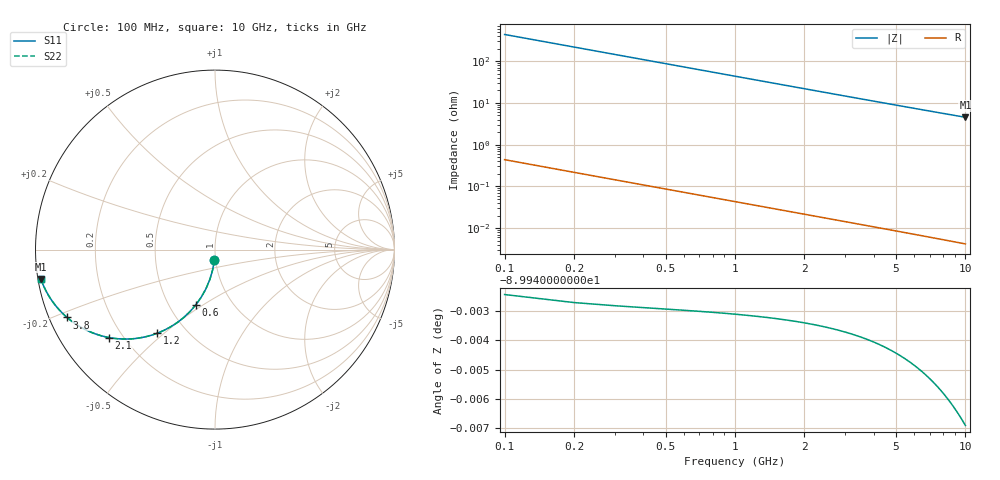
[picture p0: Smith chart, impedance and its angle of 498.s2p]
# Hz S RI R 50.00
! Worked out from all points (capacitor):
!   100 points, 100 MHz to 10 GHz, reference 50 ohm
!   read as one part in shunt: C = 3.66 pF near 100 MHz
!   lowest |Z| = 4.53 ohm at 10 GHz (marker M1)
!   S11 on the Smith chart (normalised r, x): 100 MHz: 0.99, -0.11; 600 MHz: 0.68, -0.47; 1.2 GHz: 0.35, -0.47; 2.1 GHz: 0.15, -0.35; 3.8 GHz: 0.05, -0.22; 10 GHz: 0.01, -0.08
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1e8  -0.00334 -0.0572  0.9966 -0.0573  0.9966 -0.0573  -0.00334 -0.0572
2e8  -0.0131 -0.1133  0.9868 -0.1135  0.9868 -0.1135  -0.0131 -0.1133
3e8  -0.029 -0.1671  0.971 -0.1675  0.971 -0.1675  -0.029 -0.1671
4e8  -0.0503 -0.2179  0.9497 -0.2184  0.9497 -0.2184  -0.0503 -0.2179
5e8  -0.0764 -0.2648  0.9236 -0.2654  0.9236 -0.2654  -0.0764 -0.2648
6e8  -0.1063 -0.3074  0.8937 -0.3081  0.8937 -0.3081  -0.1063 -0.3074
7e8  -0.1393 -0.3453  0.8607 -0.3461  0.8607 -0.3461  -0.1393 -0.3453
9e8  -0.2108 -0.4069  0.7892 -0.4079  0.7892 -0.4079  -0.2108 -0.4069
1.2e9  -0.3215 -0.4659  0.6785 -0.4672  0.6785 -0.4672  -0.3215 -0.4659
1.5e9  -0.425 -0.493  0.575 -0.4947  0.575 -0.4947  -0.425 -0.493
1.8e9  -0.5151 -0.4982  0.4848 -0.5003  0.4848 -0.5003  -0.5151 -0.4982
2.1e9  -0.5908 -0.49  0.4092 -0.4924  0.4092 -0.4924  -0.5908 -0.49
2.4e9  -0.6531 -0.4741  0.3469 -0.4769  0.3469 -0.4769  -0.6531 -0.4741
2.7e9  -0.704 -0.4544  0.2959 -0.4575  0.2959 -0.4575  -0.704 -0.4544
3e9  -0.7457 -0.4332  0.2542 -0.4367  0.2542 -0.4367  -0.7457 -0.4332
3.4e9  -0.7899 -0.4049  0.21 -0.4088  0.21 -0.4088  -0.7899 -0.4049
3.8e9  -0.8242 -0.3779  0.1757 -0.3823  0.1757 -0.3823  -0.8242 -0.3779
4.4e9  -0.8625 -0.3413  0.1374 -0.3464  0.1374 -0.3464  -0.8625 -0.3413
5.1e9  -0.8938 -0.3046  0.1062 -0.3105  0.1062 -0.3105  -0.8938 -0.3046
6.7e9  -0.9354 -0.2413  0.0645 -0.2491  0.0645 -0.2491  -0.9354 -0.2413
8.4e9  -0.9579 -0.1952  0.042 -0.2051  0.042 -0.2051  -0.9579 -0.1952
1e10  -0.97 -0.164  0.0299 -0.1759  0.0299 -0.1759  -0.97 -0.164
